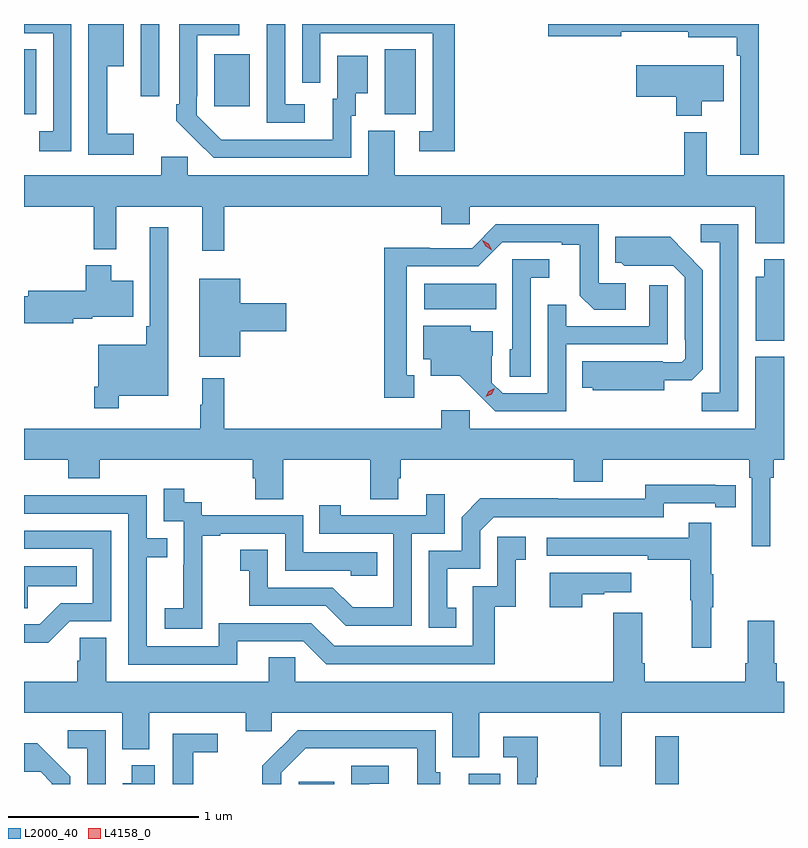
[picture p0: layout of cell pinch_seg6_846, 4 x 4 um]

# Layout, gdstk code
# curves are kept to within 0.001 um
import gdstk
lib = gdstk.Library(unit=1e-6, precision=1e-09)
def R(c, l, rs):  # rectangles x0, y0, x1, y1
    for r in rs: c.add(gdstk.rectangle(r[:2], r[2:], *l))
def P(c, l, *ps):  # polygons
    for p in ps: c.add(gdstk.Polygon(p, *l))
L2000_40 = (2000, 40)
L4158_0 = (4158, 0)

pinch_seg6_846 = lib.new_cell('pinch_seg6_846')
R(pinch_seg6_846, L2000_40, [(160.913,917.657,161.101,917.668), (161.81,917.657,161.974,917.712), (162.791,917.657,162.913,917.908), (161.574,920.156,161.954,920.29), (159.468,921.181,159.532,921.524), (161.366,921.181,161.53,921.524), (160.469,921.225,160.657,921.499), (160.083,921.276,160.179,921.657)])
P(pinch_seg6_846, L2000_40, [(159.717,921.657),(159.468,921.657),(159.468,921.609),(159.621,921.609),(159.621,921.093),(159.549,921.093),(159.549,920.988),(159.717,920.988)],
  [(161.19,921.174),(161.215,921.174),(161.215,921.293),(161.278,921.293),(161.278,921.49),(161.117,921.49),(161.117,921.264),(161.093,921.264),(161.093,921.048),(160.506,921.049),(160.377,921.177),(160.377,921.277),(160.38,921.277),(160.38,921.597),(160.6,921.597),(160.6,921.657),(160.284,921.657),(160.284,921.235),(160.269,921.235),(160.269,921.147),(160.466,920.952),(161.19,920.952)],
  [(163.336,921.657),(162.228,921.657),(162.228,921.593),(162.612,921.593),(162.612,921.617),(162.965,921.617),(162.965,921.587),(163.219,921.587),(163.219,921.491),(163.239,921.491),(163.239,920.97),(163.336,920.97)],
  [(160.945,921.234),(160.842,921.234),(160.842,921.657),(160.745,921.657),(160.745,921.595),(160.746,921.595),(160.746,921.138),(160.945,921.138)],
  [(160.045,921.079),(159.905,921.079),(159.905,921.434),(159.994,921.434),(159.994,921.657),(159.807,921.657),(159.807,920.97),(160.045,920.97)],
  [(161.735,921.657),(160.933,921.657),(160.933,921.602),(160.932,921.602),(160.932,921.348),(161.028,921.348),(161.028,921.609),(161.619,921.609),(161.619,921.093),(161.547,921.093),(161.547,920.988),(161.735,920.988)],
  [(163.036,921.251),(163.15,921.251),(163.15,921.439),(162.69,921.439),(162.69,921.274),(162.902,921.274),(162.902,921.173),(163.036,921.173)],
  [(160.19,920.958),(160.19,920.86),(159.468,920.86),(159.468,920.696),(159.835,920.696),(159.835,920.471),(159.953,920.471),(159.953,920.696),(160.406,920.696),(160.406,920.463),(160.523,920.463),(160.523,920.696),(161.663,920.696),(161.663,920.603),(161.814,920.603),(161.814,920.696),(163.316,920.696),(163.316,920.504),(163.468,920.504),(163.468,920.86),(163.061,920.86),(163.061,921.088),(162.943,921.088),(162.943,920.86),(161.419,920.86),(161.419,921.096),(161.279,921.096),(161.279,920.86),(160.329,920.86),(160.329,920.958)],
  [(163.227,920.604),(163.029,920.604),(163.029,920.508),(163.131,920.508),(163.131,919.715),(163.036,919.715),(163.036,919.62),(163.227,919.62)],
  [(161.521,919.809),(161.482,919.809),(161.482,920.382),(161.859,920.382),(161.985,920.508),(162.299,920.508),(162.299,920.496),(162.393,920.496),(162.393,920.228),(162.469,920.152),(162.634,920.152),(162.634,920.292),(162.492,920.292),(162.492,920.604),(161.952,920.604),(161.826,920.478),(161.604,920.478),(161.604,920.48),(161.364,920.48),(161.364,919.689),(161.521,919.689)],
  [(159.967,919.7),(160.228,919.7),(160.228,920.587),(160.131,920.587),(160.131,920.065),(160.111,920.065),(160.111,919.969),(159.858,919.969),(159.858,919.747),(159.838,919.747),(159.838,919.635),(159.967,919.635)],
  [(162.838,919.781),(162.982,919.781),(163.041,919.84),(163.041,920.362),(162.869,920.536),(162.581,920.536),(162.581,920.4),(162.612,920.4),(162.628,920.384),(162.885,920.385),(162.945,920.325),(162.945,919.996),(162.948,919.996),(162.948,919.896),(162.93,919.878),(162.83,919.878),(162.83,919.882),(162.406,919.882),(162.406,919.742),(162.462,919.742),(162.462,919.73),(162.838,919.73)],
  [(163.468,920.419),(163.364,920.419),(163.364,920.326),(163.319,920.326),(163.319,919.991),(163.468,919.991)],
  [(162.135,920.321),(162.232,920.321),(162.232,920.418),(162.039,920.418),(162.039,919.944),(162.024,919.944),(162.024,919.801),(162.135,919.801)],
  [(159.726,920.105),(159.826,920.105),(159.826,920.117),(160.042,920.117),(160.042,920.305),(159.928,920.305),(159.928,920.386),(159.794,920.386),(159.794,920.253),(159.491,920.253),(159.491,920.223),(159.468,920.223),(159.468,920.081),(159.726,920.081)],
  [(160.606,920.039),(160.849,920.039),(160.849,920.186),(160.606,920.186),(160.606,920.317),(160.391,920.317),(160.391,919.907),(160.606,919.907)],
  [(162.321,919.971),(162.855,919.971),(162.855,920.281),(162.759,920.281),(162.759,920.067),(162.323,920.067),(162.323,920.18),(162.225,920.18),(162.225,919.713),(161.988,919.713),(161.931,919.77),(161.931,919.912),(161.935,919.912),(161.935,920.041),(161.82,920.041),(161.82,920.068),(161.57,920.068),(161.57,919.892),(161.609,919.892),(161.609,919.805),(161.761,919.805),(161.948,919.62),(162.321,919.62)],
  [(163.396,919.268),(163.415,919.268),(163.415,919.364),(163.468,919.364),(163.468,919.906),(163.316,919.906),(163.316,919.528),(161.814,919.528),(161.814,919.624),(161.663,919.624),(161.663,919.528),(160.523,919.528),(160.523,919.792),(160.406,919.792),(160.406,919.652),(160.395,919.652),(160.395,919.528),(159.468,919.528),(159.468,919.364),(159.701,919.364),(159.701,919.265),(159.866,919.265),(159.866,919.364),(160.673,919.364),(160.673,919.266),(160.685,919.266),(160.685,919.156),(160.833,919.156),(160.833,919.364),(161.29,919.364),(161.29,919.156),(161.437,919.156),(161.437,919.266),(161.45,919.266),(161.45,919.364),(162.362,919.364),(162.362,919.247),(162.514,919.247),(162.514,919.364),(163.286,919.364),(163.286,919.268),(163.299,919.268),(163.299,918.909),(163.396,918.909)],
  [(161.744,918.585),(161.695,918.585),(161.695,918.789),(161.868,918.789),(161.868,918.99),(161.94,919.062),(162.834,919.062),(162.834,919.134),(163.106,919.134),(163.106,919.114),(163.214,919.114),(163.214,919.23),(162.738,919.231),(162.738,919.158),(162.278,919.158),(162.278,919.16),(161.87,919.16),(161.772,919.062),(161.772,918.885),(161.598,918.885),(161.598,918.48),(161.744,918.48)],
  [(160.407,918.679),(160.406,918.679),(160.406,918.963),(160.501,918.963),(160.501,918.975),(160.842,918.975),(160.842,918.78),(161.187,918.78),(161.187,918.753),(161.327,918.753),(161.327,918.876),(160.938,918.876),(160.938,919.071),(160.404,919.071),(160.404,919.14),(160.312,919.14),(160.312,919.21),(160.203,919.21),(160.203,919.041),(160.308,919.041),(160.308,918.812),(160.307,918.812),(160.307,918.583),(160.209,918.583),(160.209,918.473),(160.407,918.473)],
  [(161.508,918.975),(161.682,918.975),(161.682,919.183),(161.585,919.183),(161.585,919.071),(161.134,919.071),(161.134,919.123),(161.023,919.123),(161.023,918.975),(161.412,918.975),(161.412,918.586),(161.198,918.586),(161.094,918.69),(160.752,918.69),(160.752,918.889),(160.605,918.889),(160.605,918.779),(160.654,918.779),(160.654,918.594),(161.057,918.594),(161.162,918.489),(161.508,918.489)],
  [(160.591,918.408),(160.938,918.408),(161.058,918.288),(161.945,918.288),(161.945,918.591),(162.056,918.591),(162.056,918.837),(162.109,918.837),(162.109,918.958),(161.958,918.958),(161.958,918.699),(161.829,918.699),(161.829,918.384),(161.1,918.384),(160.98,918.504),(160.494,918.504),(160.494,918.381),(160.113,918.381),(160.113,918.85),(160.223,918.85),(160.223,918.951),(160.113,918.951),(160.113,919.176),(159.617,919.176),(159.617,919.178),(159.468,919.178),(159.468,919.08),(160.017,919.08),(160.017,918.285),(160.591,918.285)],
  [(163.085,918.587),(163.096,918.587),(163.096,918.761),(163.085,918.761),(163.085,919.033),(162.967,919.033),(162.967,918.954),(162.219,918.954),(162.219,918.858),(162.751,918.858),(162.751,918.838),(162.975,918.838),(162.975,918.624),(162.982,918.624),(162.982,918.375),(163.085,918.375)],
  [(159.708,918.513),(159.927,918.513),(159.927,918.99),(159.468,918.99),(159.468,918.894),(159.831,918.894),(159.831,918.609),(159.662,918.609),(159.551,918.498),(159.468,918.498),(159.468,918.401),(159.595,918.401)],
  [(159.489,918.698),(159.746,918.698),(159.746,918.802),(159.468,918.802),(159.468,918.583),(159.489,918.583)],
  [(162.407,918.655),(162.521,918.655),(162.521,918.665),(162.664,918.665),(162.664,918.769),(162.236,918.769),(162.236,918.588),(162.407,918.588)],
  [(163.468,918.196),(163.43,918.196),(163.43,918.292),(163.417,918.292),(163.417,918.517),(163.277,918.517),(163.277,918.292),(163.265,918.292),(163.265,918.196),(162.734,918.196),(162.734,918.292),(162.721,918.292),(162.721,918.559),(162.569,918.559),(162.569,918.196),(160.896,918.196),(160.896,918.323),(160.757,918.323),(160.757,918.196),(159.901,918.196),(159.901,918.428),(159.762,918.428),(159.762,918.305),(159.749,918.305),(159.749,918.196),(159.468,918.196),(159.468,918.032),(159.986,918.032),(159.986,917.84),(160.126,917.84),(160.126,918.032),(160.634,918.032),(160.634,917.934),(160.773,917.934),(160.773,918.032),(161.723,918.032),(161.723,917.797),(161.863,917.797),(161.863,918.032),(162.499,918.032),(162.499,917.751),(162.613,917.751),(162.613,918.032),(163.468,918.032)],
  [(159.897,917.94),(159.699,917.94),(159.699,917.844),(159.801,917.844),(159.801,917.657),(159.897,917.657)],
  [(160.821,917.715),(160.95,917.844),(161.537,917.844),(161.537,917.657),(161.659,917.657),(161.659,917.718),(161.634,917.718),(161.634,917.94),(160.91,917.94),(160.819,917.849),(160.818,917.85),(160.721,917.752),(160.721,917.657),(160.821,917.657)],
  [(160.36,917.825),(160.489,917.825),(160.489,917.922),(160.251,917.922),(160.251,917.657),(160.36,917.657)],
  [(162.164,917.692),(162.172,917.692),(162.172,917.905),(161.991,917.905),(161.991,917.799),(162.063,917.799),(162.063,917.657),(162.164,917.657)],
  [(159.711,917.698),(159.619,917.791),(159.539,917.872),(159.468,917.872),(159.468,917.721),(159.555,917.721),(159.615,917.661),(159.615,917.657),(159.711,917.657)],
  [(160.156,917.755),(160.034,917.755),(160.034,917.662),(159.989,917.662),(159.989,917.657),(160.156,917.657)],
  [(161.286,917.658),(161.389,917.658),(161.389,917.754),(161.19,917.754),(161.19,917.657),(161.286,917.657)])
P(pinch_seg6_846, L4158_0, [(161.898,919.694),(161.898,919.694),(161.915,919.724),(161.945,919.739),(161.946,919.739),(161.946,919.739),(161.929,919.709),(161.898,919.694)],
  [(161.931,920.467),(161.899,920.486),(161.881,920.518),(161.881,920.518),(161.881,920.518),(161.913,920.5),(161.931,920.467),(161.931,920.467)])

lib.write_gds('pinch_seg6_846.gds')
